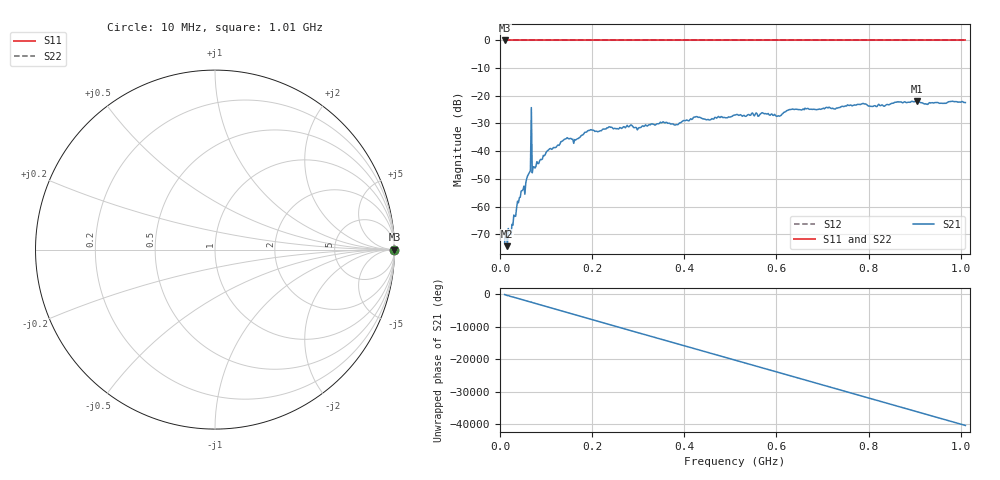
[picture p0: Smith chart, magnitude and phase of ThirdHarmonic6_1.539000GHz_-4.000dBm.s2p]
! 8/16/2025 6:14:40 PM
! C:\ANRITSUVNA\TEMP\TEMP.S2P
! CHANNEL.1
! TR.MEASUREMENT
! RAW.DATA
! RF.CORRECTION.OFF
! AVERAGING.OFF
! IF.BANDWIDTH: 5KHZ
! SWEEPTYPE:  FREQ.SWEEP(Linear)
! Reference Plane Port Info
! PORT:  PORT1  PORT2
! DISTANCE:  0  m  0  m
! TIME:  0  s  0  s
! PHASE.OFFSET:  0  deg.  0  deg.
! LOSS:  0  dB  0  dB
! REF.LOSS:  0  dB  0  dB
! REF.FREQ:  0  Hz  0  Hz
! Power Info
! POWER:  -20  dBm  -20  dBm
! EFF.POWER:  -20  dBm  -20  dBm
! SOURCE.ATTEN:  0  dB  0  dB
! TEST.ATTEN:  0  dB  0  dB
# GHZ S RI R 50.0
! FREQ.GHZ  S11RE  S11IM  S21RE  S21IM  S12RE  S12IM  S22RE  S22IM
!; PortSelection: Port_12
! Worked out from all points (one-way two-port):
!   501 points, 10 MHz to 1.01 GHz, reference 50 ohm
!   highest |S21| = -21.88 dB at 904 MHz (marker M1); lowest = -74.3 dB at 16 MHz (marker M2)
!   lowest |S11| = 0.0 dB at 10 MHz (marker M3)
!   |S11| at or under -10 dB: nowhere
!   |S22| runs from 0.0 to 0.0 dB; largest |S21 - S12| = 1.1
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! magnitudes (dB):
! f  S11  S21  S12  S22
! 10 MHz  0.0  -73.1  0.0  0.0
! 16 MHz  0.0  -74.3  0.0  0.0
! 20 MHz  0.0  -68.9  0.0  0.0
! 42 MHz  0.0  -56.8  0.0  0.0
! 58 MHz  0.0  -49.9  0.0  0.0
! 62 MHz  0.0  -48.3  0.0  0.0
! 64 MHz  0.0  -47.7  0.0  0.0
! 72 MHz  0.0  -45.6  0.0  0.0
! 74 MHz  0.0  -45.7  0.0  0.0
! 106 MHz  0.0  -39.4  0.0  0.0
! 142 MHz  0.0  -35.6  0.0  0.0
! 164 MHz  0.0  -36.0  0.0  0.0
! 178 MHz  0.0  -34.2  0.0  0.0
! 196 MHz  0.0  -32.3  0.0  0.0
! 344 MHz  0.0  -30.1  0.0  0.0
! 510 MHz  0.0  -26.9  0.0  0.0
! 604 MHz  0.0  -27.2  0.0  0.0
! 632 MHz  0.0  -24.9  0.0  0.0
! 678 MHz  0.0  -24.9  0.0  0.0
! 844 MHz  0.0  -23.3  0.0  0.0
! 904 MHz  0.0  -21.9  0.0  0.0
! 1.01 GHz  0.0  -22.4  0.0  0.0
